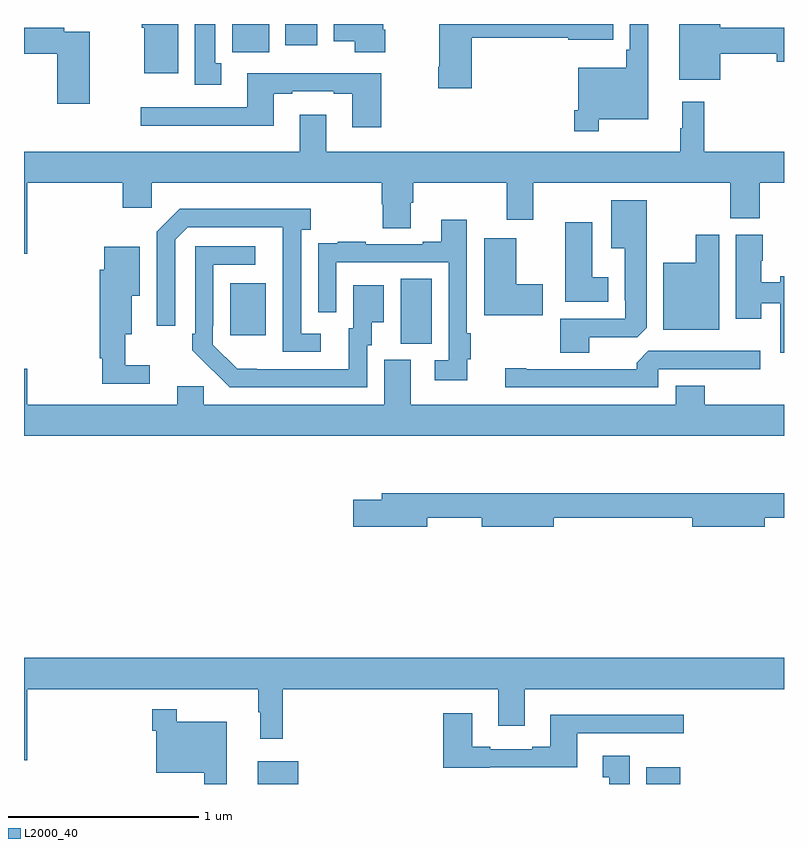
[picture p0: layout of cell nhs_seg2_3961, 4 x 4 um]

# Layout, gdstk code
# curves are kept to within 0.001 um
import gdstk
lib = gdstk.Library(unit=1e-6, precision=1e-09)
def R(c, l, rs):  # rectangles x0, y0, x1, y1
    for r in rs: c.add(gdstk.rectangle(r[:2], r[2:], *l))
def P(c, l, *ps):  # polygons
    for p in ps: c.add(gdstk.Polygon(p, *l))
L2000_40 = (2000, 40)

nhs_seg2_3961 = lib.new_cell('nhs_seg2_3961')
R(nhs_seg2_3961, L2000_40, [(322.229,649.8,322.444,649.921), (324.275,649.8,324.454,649.888), (322.982,652.117,323.146,652.46), (322.085,652.161,322.273,652.435), (322.095,653.652,322.291,653.8), (322.376,653.688,322.543,653.8)])
P(nhs_seg2_3961, L2000_40, [(322.9,653.769),(322.89,653.769),(322.89,653.8),(322.631,653.8),(322.631,653.708),(322.742,653.708),(322.742,653.651),(322.9,653.651)],
  [(324.664,653.644),(324.962,653.644),(324.962,653.602),(325,653.602),(325,653.78),(324.664,653.78),(324.664,653.8),(324.449,653.8),(324.449,653.507),(324.664,653.507)],
  [(322.039,653.593),(322.006,653.593),(322.006,653.8),(321.899,653.8),(321.899,653.481),(322.039,653.481)],
  [(324.025,653.3),(324.286,653.3),(324.286,653.8),(324.189,653.8),(324.189,653.665),(324.169,653.665),(324.169,653.569),(323.916,653.569),(323.916,653.347),(323.896,653.347),(323.896,653.235),(324.025,653.235)],
  [(323.357,653.728),(323.864,653.728),(323.864,653.717),(324.1,653.717),(324.1,653.8),(323.186,653.8),(323.186,653.575),(323.179,653.575),(323.179,653.463),(323.357,653.463)],
  [(321.811,653.8),(321.62,653.8),(321.62,653.78),(321.632,653.78),(321.632,653.54),(321.811,653.54)],
  [(321.346,653.76),(321.212,653.76),(321.212,653.78),(321,653.78),(321,653.644),(321.176,653.644),(321.176,653.379),(321.346,653.379)],
  [(322.88,653.542),(322.175,653.542),(322.175,653.361),(321.615,653.361),(321.615,653.264),(322.315,653.264),(322.315,653.433),(322.411,653.433),(322.411,653.445),(322.631,653.445),(322.631,653.433),(322.727,653.433),(322.727,653.256),(322.88,653.256)],
  [(322.883,652.851),(322.888,652.851),(322.888,652.726),(323.035,652.726),(323.035,652.858),(323.048,652.858),(323.048,652.964),(323.54,652.964),(323.54,652.77),(323.68,652.77),(323.68,652.964),(324.718,652.964),(324.718,652.777),(324.873,652.777),(324.873,652.964),(325,652.964),(325,653.128),(324.581,653.128),(324.581,653.392),(324.464,653.392),(324.464,653.252),(324.453,653.252),(324.453,653.128),(322.591,653.128),(322.591,653.323),(322.451,653.323),(322.451,653.128),(321,653.128),(321,652.59),(321.016,652.59),(321.016,652.964),(321.521,652.964),(321.521,652.833),(321.672,652.833),(321.672,652.964),(322.883,652.964)],
  [(323.974,652.152),(324.228,652.152),(324.277,652.201),(324.277,652.873),(324.092,652.873),(324.092,652.619),(324.161,652.619),(324.161,652.345),(324.165,652.345),(324.165,652.248),(323.822,652.248),(323.822,652.069),(323.974,652.069)],
  [(322.561,652.17),(322.458,652.17),(322.458,652.718),(322.51,652.718),(322.51,652.828),(321.82,652.828),(321.699,652.707),(321.699,652.212),(321.795,652.212),(321.795,652.665),(321.861,652.731),(322.361,652.731),(322.362,652.074),(322.561,652.074)],
  [(323.333,652.036),(323.351,652.036),(323.351,652.172),(323.331,652.172),(323.331,652.771),(323.195,652.771),(323.195,652.654),(323.099,652.654),(323.099,652.641),(322.799,652.641),(322.799,652.654),(322.651,652.654),(322.651,652.647),(322.549,652.647),(322.549,652.538),(322.548,652.538),(322.548,652.284),(322.644,652.284),(322.644,652.545),(323.235,652.545),(323.235,652.029),(323.163,652.029),(323.163,651.924),(323.333,651.924)],
  [(324.076,652.468),(323.992,652.468),(323.992,652.756),(323.849,652.756),(323.849,652.337),(324.076,652.337)],
  [(325,652.472),(324.98,652.472),(324.98,652.441),(324.88,652.441),(324.88,652.555),(324.888,652.555),(324.888,652.692),(324.746,652.692),(324.746,652.248),(324.88,652.248),(324.88,652.33),(324.98,652.33),(324.98,652.071),(325,652.071)],
  [(324.658,652.69),(324.536,652.69),(324.536,652.543),(324.365,652.543),(324.365,652.19),(324.658,652.19)],
  [(323.731,652.431),(323.59,652.431),(323.59,652.672),(323.423,652.672),(323.423,652.268),(323.731,652.268)],
  [(322.806,652.11),(322.831,652.11),(322.831,652.229),(322.894,652.229),(322.894,652.426),(322.733,652.426),(322.733,652.2),(322.709,652.2),(322.709,651.984),(322.122,651.985),(321.993,652.113),(321.993,652.213),(321.996,652.213),(321.996,652.533),(322.216,652.533),(322.216,652.629),(321.9,652.629),(321.9,652.171),(321.885,652.171),(321.885,652.083),(322.082,651.888),(322.806,651.888)],
  [(321.661,652.003),(321.532,652.003),(321.532,652.166),(321.568,652.166),(321.568,652.37),(321.61,652.37),(321.61,652.627),(321.422,652.627),(321.422,652.506),(321.398,652.506),(321.398,652.04),(321.411,652.04),(321.411,651.906),(321.661,651.906)],
  [(324.339,651.984),(324.874,651.984),(324.874,652.08),(324.285,652.08),(324.224,652.018),(324.224,651.984),(323.644,651.984),(323.644,651.989),(323.532,651.989),(323.532,651.888),(324.339,651.888)],
  [(325,651.796),(324.584,651.796),(324.584,651.895),(324.431,651.895),(324.431,651.796),(323.035,651.796),(323.035,652.032),(322.895,652.032),(322.895,651.796),(321.945,651.796),(321.945,651.894),(321.806,651.894),(321.806,651.796),(321.016,651.796),(321.016,651.985),(321,651.985),(321,651.632),(325,651.632)],
  [(323.122,651.202),(323.408,651.202),(323.408,651.155),(323.788,651.155),(323.788,651.202),(324.518,651.202),(324.518,651.155),(324.898,651.155),(324.898,651.202),(325,651.202),(325,651.331),(322.883,651.331),(322.883,651.297),(322.734,651.297),(322.734,651.155),(323.122,651.155)],
  [(321.016,650.3),(322.233,650.3),(322.233,650.177),(322.244,650.177),(322.244,650.037),(322.361,650.037),(322.361,650.3),(323.495,650.3),(323.495,650.106),(323.635,650.106),(323.635,650.3),(325,650.3),(325,650.464),(321,650.464),(321,649.926),(321.016,649.926)],
  [(322.066,650.128),(321.805,650.128),(321.805,650.194),(321.676,650.194),(321.676,650.081),(321.696,650.081),(321.696,649.859),(321.949,649.859),(321.949,649.8),(322.066,649.8)],
  [(323.451,649.887),(323.911,649.887),(323.911,650.067),(324.472,650.067),(324.472,650.164),(323.771,650.164),(323.771,649.996),(323.675,649.996),(323.675,649.983),(323.455,649.983),(323.455,649.996),(323.359,649.996),(323.359,650.173),(323.207,650.173),(323.207,649.886),(323.451,649.886)],
  [(324.187,649.948),(324.047,649.948),(324.047,649.835),(324.08,649.835),(324.08,649.8),(324.187,649.8)])

lib.write_gds('nhs_seg2_3961.gds')
